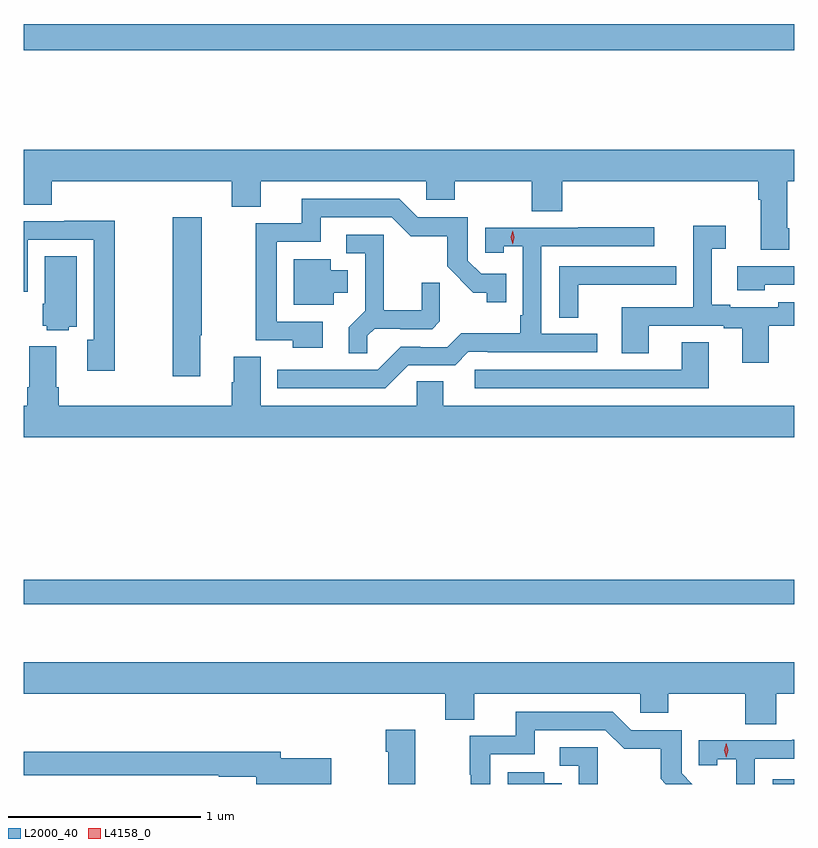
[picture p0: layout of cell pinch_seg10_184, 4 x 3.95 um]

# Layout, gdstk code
import gdstk
lib = gdstk.Library(unit=1e-6, precision=1e-09)
def R(c, l, rs):  # rectangles x0, y0, x1, y1
    for r in rs: c.add(gdstk.rectangle(r[:2], r[2:], *l))
def P(c, l, *ps):  # polygons
    for p in ps: c.add(gdstk.Polygon(p, *l))
L2000_40 = (2000, 40)
L4158_0 = (4158, 0)

pinch_seg10_184 = lib.new_cell('pinch_seg10_184')
R(pinch_seg10_184, L2000_40, [(751.887,1269.212,751.997,1269.237), (747.997,1270.146,751.997,1270.274), (747.997,1273.024,751.997,1273.16)])
P(pinch_seg10_184, L2000_40, [(751.971,1272.1),(751.963,1272.1),(751.963,1272.344),(751.997,1272.344),(751.997,1272.508),(747.997,1272.508),(747.997,1272.22),(748.142,1272.22),(748.142,1272.344),(749.075,1272.344),(749.075,1272.211),(749.227,1272.211),(749.227,1272.344),(750.087,1272.344),(750.087,1272.246),(750.234,1272.246),(750.234,1272.344),(750.634,1272.344),(750.634,1272.187),(750.794,1272.187),(750.794,1272.344),(751.811,1272.344),(751.811,1272.248),(751.823,1272.248),(751.823,1271.988),(751.971,1271.988)],
  [(749.548,1271.613),(749.31,1271.613),(749.31,1272.03),(749.539,1272.03),(749.539,1272.156),(749.907,1272.156),(750.006,1272.058),(750.195,1272.058),(750.195,1271.902),(750.332,1271.765),(750.402,1271.765),(750.402,1271.715),(750.503,1271.715),(750.503,1271.862),(750.372,1271.862),(750.303,1271.931),(750.303,1272.156),(750.042,1272.156),(749.946,1272.252),(749.441,1272.252),(749.441,1272.126),(749.202,1272.126),(749.202,1271.517),(749.392,1271.517),(749.392,1271.477),(749.548,1271.477)],
  [(748.912,1271.543),(748.92,1271.543),(748.92,1272.157),(748.771,1272.157),(748.771,1271.331),(748.912,1271.331)],
  [(748.468,1272.139),(748.205,1272.139),(748.205,1272.135),(747.997,1272.135),(747.997,1271.769),(748.017,1271.769),(748.017,1272.039),(748.359,1272.039),(748.359,1271.519),(748.325,1271.519),(748.325,1271.358),(748.468,1271.358)],
  [(751.867,1271.592),(751.997,1271.592),(751.997,1271.715),(751.914,1271.715),(751.914,1271.688),(751.666,1271.688),(751.666,1271.701),(751.57,1271.701),(751.57,1271.992),(751.642,1271.992),(751.642,1272.112),(751.473,1272.112),(751.473,1271.688),(751.103,1271.688),(751.103,1271.449),(751.243,1271.449),(751.243,1271.592),(751.631,1271.592),(751.631,1271.58),(751.727,1271.58),(751.727,1271.4),(751.867,1271.4)],
  [(749.994,1271.388),(750.237,1271.388),(750.306,1271.457),(750.406,1271.457),(750.406,1271.454),(750.976,1271.454),(750.976,1271.55),(750.684,1271.55),(750.684,1272.006),(751.27,1272.006),(751.27,1272.105),(750.877,1272.105),(750.877,1272.102),(750.393,1272.102),(750.393,1271.973),(750.489,1271.973),(750.489,1272.005),(750.588,1272.005),(750.588,1271.647),(750.576,1271.647),(750.576,1271.554),(750.268,1271.554),(750.195,1271.481),(750.056,1271.481),(750.056,1271.484),(749.955,1271.484),(749.835,1271.364),(749.312,1271.364),(749.312,1271.268),(749.874,1271.268)],
  [(749.781,1271.54),(749.818,1271.577),(749.952,1271.577),(749.952,1271.574),(750.117,1271.574),(750.158,1271.615),(750.158,1271.817),(750.064,1271.817),(750.064,1271.674),(749.867,1271.674),(749.867,1272.066),(749.67,1272.066),(749.67,1271.97),(749.769,1271.97),(749.769,1271.671),(749.683,1271.585),(749.683,1271.449),(749.781,1271.449)],
  [(748.23,1271.588),(748.27,1271.588),(748.27,1271.954),(748.106,1271.954),(748.106,1271.706),(748.094,1271.706),(748.094,1271.592),(748.116,1271.592),(748.116,1271.57),(748.23,1271.57)],
  [(749.605,1271.765),(749.68,1271.765),(749.68,1271.881),(749.59,1271.881),(749.59,1271.938),(749.399,1271.938),(749.399,1271.702),(749.605,1271.702)],
  [(750.876,1271.805),(751.271,1271.805),(751.271,1271.806),(751.384,1271.806),(751.384,1271.901),(750.777,1271.901),(750.777,1271.635),(750.876,1271.635)],
  [(751.845,1271.805),(751.997,1271.805),(751.997,1271.901),(751.701,1271.901),(751.701,1271.777),(751.845,1271.777)],
  [(751.555,1271.507),(751.415,1271.507),(751.415,1271.364),(750.339,1271.364),(750.339,1271.268),(751.555,1271.268)],
  [(751.997,1271.176),(750.175,1271.176),(750.175,1271.303),(750.036,1271.303),(750.036,1271.176),(749.227,1271.176),(749.227,1271.432),(749.087,1271.432),(749.087,1271.298),(749.075,1271.298),(749.075,1271.176),(748.178,1271.176),(748.178,1271.272),(748.165,1271.272),(748.165,1271.485),(748.025,1271.485),(748.025,1271.272),(748.013,1271.272),(748.013,1271.176),(747.997,1271.176),(747.997,1271.012),(751.997,1271.012)],
  [(751.904,1269.68),(751.997,1269.68),(751.997,1269.844),(747.997,1269.844),(747.997,1269.68),(750.185,1269.68),(750.185,1269.547),(750.337,1269.547),(750.337,1269.68),(751.197,1269.68),(751.197,1269.582),(751.344,1269.582),(751.344,1269.68),(751.744,1269.68),(751.744,1269.523),(751.904,1269.523)],
  [(750.42,1269.366),(750.649,1269.366),(750.649,1269.492),(751.017,1269.492),(751.116,1269.394),(751.305,1269.394),(751.305,1269.238),(751.331,1269.212),(751.468,1269.212),(751.413,1269.267),(751.413,1269.492),(751.152,1269.492),(751.056,1269.588),(750.551,1269.588),(750.551,1269.462),(750.312,1269.462),(750.312,1269.259),(750.319,1269.259),(750.319,1269.212),(750.42,1269.212)],
  [(750.03,1269.493),(749.876,1269.493),(749.876,1269.38),(749.888,1269.38),(749.888,1269.212),(750.03,1269.212)],
  [(751.794,1269.342),(751.997,1269.342),(751.997,1269.441),(751.987,1269.441),(751.987,1269.438),(751.503,1269.438),(751.503,1269.309),(751.599,1269.309),(751.599,1269.341),(751.698,1269.341),(751.698,1269.212),(751.794,1269.212)],
  [(750.977,1269.402),(750.78,1269.402),(750.78,1269.306),(750.879,1269.306),(750.879,1269.212),(750.977,1269.212)],
  [(749.593,1269.345),(749.332,1269.345),(749.332,1269.379),(747.997,1269.379),(747.997,1269.258),(749.008,1269.258),(749.008,1269.25),(749.204,1269.25),(749.204,1269.212),(749.593,1269.212)],
  [(750.79,1269.217),(750.7,1269.217),(750.7,1269.274),(750.509,1269.274),(750.509,1269.212),(750.79,1269.212)])
P(pinch_seg10_184, L4158_0, [(751.644,1269.351),(751.644,1269.351),(751.635,1269.387),(751.645,1269.423),(751.645,1269.423),(751.646,1269.423),(751.655,1269.387),(751.645,1269.351)],
  [(750.535,1272.015),(750.535,1272.015),(750.525,1272.051),(750.535,1272.087),(750.535,1272.087),(750.535,1272.087),(750.545,1272.051),(750.535,1272.015)])

lib.write_gds('pinch_seg10_184.gds')
